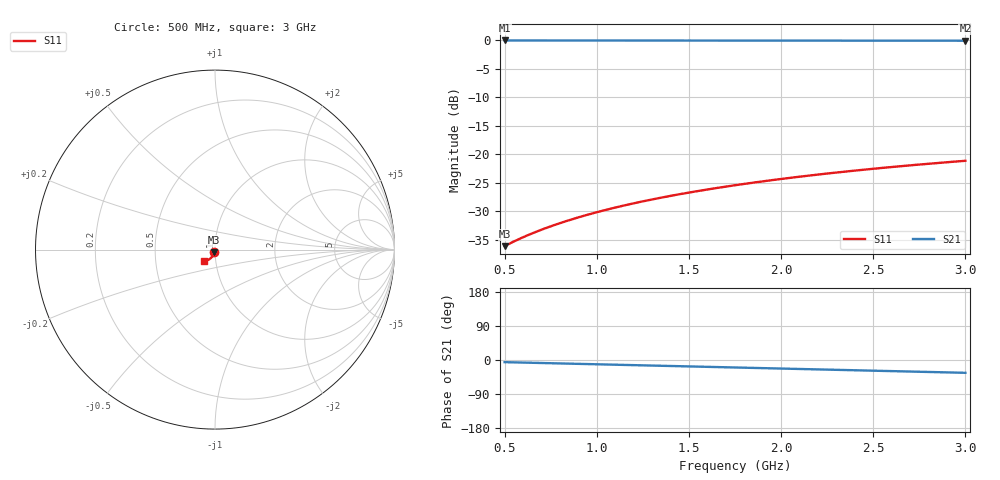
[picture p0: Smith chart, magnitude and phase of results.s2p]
! rfsim (KiCad + openEMS)
# HZ S RI R 50
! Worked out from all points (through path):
!   251 points, 500 MHz to 3 GHz, reference 50 ohm
!   highest |S21| = -0.04 dB at 500 MHz (marker M1); lowest = -0.1 dB at 3 GHz (marker M2)
!   group delay of S21, straight-line fit = 31.3 ps
!   lowest |S11| = -36.2 dB at 500 MHz (marker M3), VSWR 1.03, Z = 49.5 - j1.48 ohm
!   |S11| at or under -10 dB: start of sweep to end of sweep
!   S12 and S22 are empty: the file has one direction only
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5e8  -0.00446 -0.0149  0.9911 -0.0983  0 0  0 0
5.4e8  -0.00474 -0.0161  0.9902 -0.1062  0 0  0 0
5.9e8  -0.00513 -0.0176  0.9891 -0.1159  0 0  0 0
6.4e8  -0.00555 -0.0191  0.9878 -0.1256  0 0  0 0
6.9e8  -0.00602 -0.0205  0.9865 -0.1353  0 0  0 0
7.4e8  -0.00652 -0.022  0.9851 -0.145  0 0  0 0
8e8  -0.00716 -0.0237  0.9832 -0.1565  0 0  0 0
8.6e8  -0.00786 -0.0254  0.9812 -0.1681  0 0  0 0
9.2e8  -0.0086 -0.0271  0.9791 -0.1796  0 0  0 0
1.02e9  -0.00996 -0.0299  0.9753 -0.1988  0 0  0 0
1.12e9  -0.0115 -0.0326  0.971 -0.2179  0 0  0 0
1.23e9  -0.0133 -0.0355  0.9659 -0.2389  0 0  0 0
1.34e9  -0.0152 -0.0383  0.9603 -0.2597  0 0  0 0
1.44e9  -0.0171 -0.0408  0.9549 -0.2785  0 0  0 0
1.54e9  -0.0191 -0.0431  0.949 -0.2971  0 0  0 0
1.75e9  -0.0238 -0.0478  0.9356 -0.3359  0 0  0 0
1.95e9  -0.0286 -0.0518  0.9213 -0.3722  0 0  0 0
2.17e9  -0.0344 -0.0556  0.9039 -0.4115  0 0  0 0
2.37e9  -0.04 -0.0586  0.8865 -0.4465  0 0  0 0
2.59e9  -0.0465 -0.0612  0.8659 -0.4841  0 0  0 0
2.79e9  -0.0526 -0.063  0.8458 -0.5174  0 0  0 0
3e9  -0.0594 -0.0642  0.8231 -0.5515  0 0  0 0
